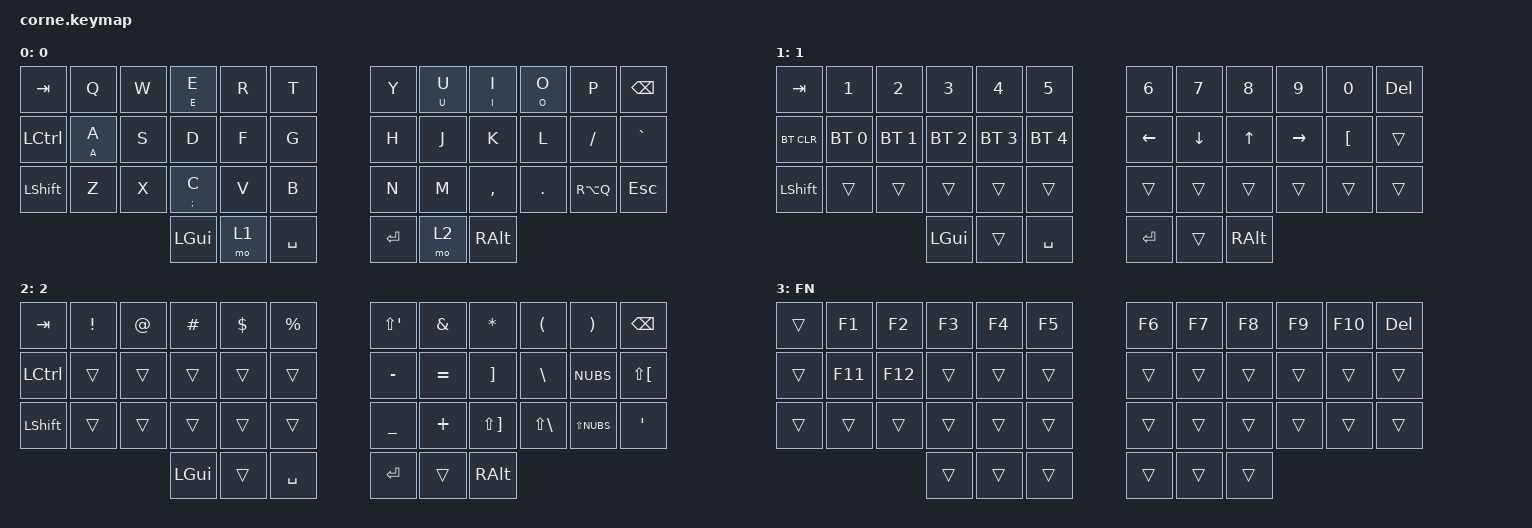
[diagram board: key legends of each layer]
/*
 * Copyright (c) 2020 The ZMK Contributors
 *
 * SPDX-License-Identifier: MIT
 */

#include <behaviors.dtsi>
#include <dt-bindings/zmk/keys.h>
#include <dt-bindings/zmk/bt.h>

/*
 * Layout do sistema operacional: Português (Brasil ABNT2).
 *
 * O ZMK envia códigos de posição (HID), então os nomes dos códigos abaixo
 * seguem o layout US e o sistema os traduz para ABNT2. Equivalências usadas:
 *
 *   caractere   código ZMK         observação
 *   ---------   ----------------   ----------------------------------
 *   ;           FSLH               (tecla "/" do US)
 *   '           GRAVE              (tecla "`" do US)
 *   /           RA(Q)              (AltGr + Q)
 *   ç           SEMI               (tecla ";" do US)
 *   [  ]        RBKT  BSLH
 *   {  }        LS(RBKT)  LS(BSLH)
 *   \  |        NUBS  LS(NUBS)
 *   ´           LBKT               tecla morta: ´ + vogal = á é í ó ú
 *   ~           SQT                tecla morta: ~ + vogal = ã õ
 *   ^           LS(SQT)            tecla morta: ^ + vogal = â ê ô
 *   `           LS(LBKT)           tecla morta
 *
 * Teclas mortas: para escrever o próprio símbolo (~ ^ ` ´) aperte Espaço depois.
 */

/ {
        macros {
                // Envia o acento agudo (tecla morta ´) seguido da vogal recebida como parâmetro.
                acute_macro: acute_macro {
                        compatible = "zmk,behavior-macro-one-param";
                        label = "ACUTE_MACRO";
                        #binding-cells = <1>;
                        bindings = <&macro_tap &kp LBKT &macro_param_1to1 &kp MACRO_PLACEHOLDER>;
                };

                // Envia o til (tecla morta ~) seguido da vogal recebida como parâmetro.
                tilde_macro: tilde_macro {
                        compatible = "zmk,behavior-macro-one-param";
                        label = "TILDE_MACRO";
                        #binding-cells = <1>;
                        bindings = <&macro_tap &kp SQT &macro_param_1to1 &kp MACRO_PLACEHOLDER>;
                };
        };

        behaviors {
                // Toque: vogal. Segurar: vogal com acento agudo (é í ó ú).
                // Uso: &acute_ht <vogal> <vogal>
                acute_ht: acute_ht {
                        compatible = "zmk,behavior-hold-tap";
                        label = "ACUTE_HT";
                        #binding-cells = <2>;
                        flavor = "tap-preferred";
                        tapping-term-ms = <200>;
                        bindings = <&acute_macro>, <&kp>;
                };

                // Toque: vogal. Segurar: vogal com til (ã).
                // Uso: &tilde_ht <vogal> <vogal>
                tilde_ht: tilde_ht {
                        compatible = "zmk,behavior-hold-tap";
                        label = "TILDE_HT";
                        #binding-cells = <2>;
                        flavor = "tap-preferred";
                        tapping-term-ms = <200>;
                        bindings = <&tilde_macro>, <&kp>;
                };

                // Toque: C. Segurar: ç (tecla ";" do US = ç no ABNT2).
                // Uso: &cedilla <segurar> <toque>
                cedilla: cedilla {
                        compatible = "zmk,behavior-hold-tap";
                        label = "CEDILLA";
                        #binding-cells = <2>;
                        flavor = "tap-preferred";
                        tapping-term-ms = <200>;
                        bindings = <&kp>, <&kp>;
                };
        };

        keymap {
                compatible = "zmk,keymap";

                default_layer {
                        display-name = "0";
// -----------------------------------------------------------------------------------------
// |  TAB |  Q  |  W  | E/é |  R  |  T  |   |  Y  | U/ú  | I/í | O/ó |  P  | BSPC |
// | CTRL | A/ã |  S  |  D  |  F  |  G  |   |  H  |  J   |  K  |  L  |  ;  |  '   |
// | SHFT |  Z  |  X  | C/ç |  V  |  B  |   |  N  |  M   |  ,  |  .  |  /  | ESC  |
//                    | GUI | LWR | SPC |   | ENT | RSE  | ALT |
                        bindings = <
   &kp TAB   &kp Q &kp W &acute_ht E E  &kp R &kp T   &kp Y &acute_ht U U &acute_ht I I &acute_ht O O &kp P    &kp BSPC
   &kp LCTRL &tilde_ht A A &kp S &kp D  &kp F &kp G   &kp H &kp J  &kp K     &kp L   &kp FSLH &kp GRAVE
   &kp LSHFT &kp Z &kp X &cedilla SEMI C &kp V &kp B   &kp N &kp M  &kp COMMA &kp DOT &kp RA(Q) &kp ESC
                  &kp LGUI &mo 1 &kp SPACE   &kp RET &mo 2 &kp RALT
                        >;
                };
                lower_layer {
                        display-name = "1";
// -----------------------------------------------------------------------------------------
// |  TAB |  1  |  2  |  3  |  4  |  5  |   |  6  |  7  |  8  |  9  |  0  | DEL  |
// | BTCLR| BT1 | BT2 | BT3 | BT4 | BT5 |   | LFT | DWN |  UP | RGT |  ´  |      |
// | SHFT |     |     |     |     |     |   |     |     |     |     |     |      |
//                    | GUI |     | SPC |   | ENT |     | ALT |
                        bindings = <
   &kp TAB    &kp N1       &kp N2       &kp N3       &kp N4       &kp N5         &kp N6   &kp N7   &kp N8 &kp N9    &kp N0   &kp DEL
   &bt BT_CLR &bt BT_SEL 0 &bt BT_SEL 1 &bt BT_SEL 2 &bt BT_SEL 3 &bt BT_SEL 4   &kp LEFT &kp DOWN &kp UP &kp RIGHT &kp LBKT &trans
   &kp LSHFT  &trans       &trans       &trans       &trans       &trans         &trans   &trans   &trans &trans    &trans   &trans
                                    &kp LGUI     &trans       &kp SPACE      &kp RET  &trans   &kp RALT
                        >;
                };

                raise_layer {
                        display-name = "2";
// -----------------------------------------------------------------------------------------
// |  TAB |  !  |  @  |  #  |  $  |  %  |   |  ^  |  &  |  *  |  (  |  )  | BSPC |
// | CTRL |     |     |     |     |     |   |  -  |  =  |  [  |  ]  |  \  |  `   |
// | SHFT |     |     |     |     |     |   |  _  |  +  |  {  |  }  | "|" |  ~   |
//                    | GUI |     | SPC |   | ENT |     | ALT |
                        bindings = <
   &kp  TAB  &kp EXCL &kp AT &kp HASH &kp DLLR &kp PRCNT   &kp LS(SQT) &kp AMPS  &kp ASTRK &kp LPAR      &kp RPAR      &kp BSPC
   &kp LCTRL &trans   &trans &trans   &trans   &trans      &kp MINUS   &kp EQUAL &kp RBKT  &kp BSLH      &kp NUBS      &kp LS(LBKT)
   &kp LSHFT &trans   &trans &trans   &trans   &trans      &kp UNDER   &kp PLUS  &kp LS(RBKT) &kp LS(BSLH) &kp LS(NUBS) &kp SQT
                             &kp LGUI &trans   &kp SPACE   &kp RET   &trans    &kp RALT
                        >;
                };

                function_layer {
                        display-name = "FN";
// -----------------------------------------------------------------------------------------
// |      | F1  | F2  | F3  | F4  | F5  |   | F6  | F7  | F8  | F9  | F10 | DEL  |
// |      | F11 | F12 |     |     |     |   |     |     |     |     |     |      |
// |      |     |     |     |     |     |   |     |     |     |     |     |      |
//                    |     |     |     |   |     |     |     |
                        bindings = <
   &trans &kp F1  &kp F2  &kp F3 &kp F4 &kp F5   &kp F6 &kp F7 &kp F8 &kp F9 &kp F10 &kp DEL
   &trans &kp F11 &kp F12 &trans &trans &trans   &trans &trans &trans &trans &trans  &trans
   &trans &trans  &trans  &trans &trans &trans   &trans &trans &trans &trans &trans  &trans
                          &trans &trans &trans   &trans &trans &trans
                        >;
                };
        };

        // Segurando Lower (1) + Raise (2) ao mesmo tempo ativa a camada Function (3)
        conditional_layers {
                compatible = "zmk,conditional-layers";
                tri_layer {
                        if-layers = <1 2>;
                        then-layer = <3>;
                };
        };
};
